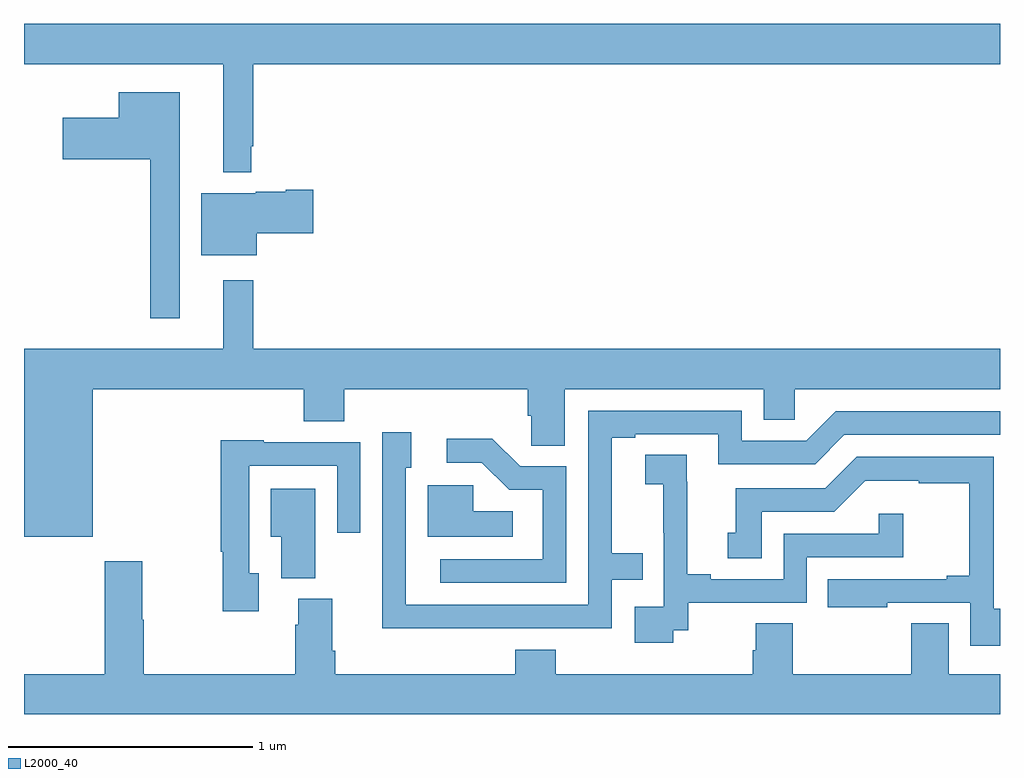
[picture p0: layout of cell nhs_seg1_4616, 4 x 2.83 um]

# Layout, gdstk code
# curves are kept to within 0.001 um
import gdstk
lib = gdstk.Library(unit=1e-6, precision=1e-09)
def P(c, l, *ps):  # polygons
    for p in ps: c.add(gdstk.Polygon(p, *l))
L2000_40 = (2000, 40)

nhs_seg1_4616 = lib.new_cell('nhs_seg1_4616')
P(nhs_seg1_4616, L2000_40, [(361.931,564.715),(361.939,564.715),(361.939,565.052),(365,565.052),(365,565.216),(361,565.216),(361,565.052),(361.817,565.052),(361.817,564.608),(361.931,564.608)],
  [(361.639,564.937),(361.388,564.937),(361.388,564.832),(361.158,564.832),(361.158,564.662),(361.518,564.662),(361.518,564.009),(361.639,564.009)],
  [(361.954,564.358),(362.185,564.358),(362.185,564.536),(362.072,564.536),(362.072,564.529),(361.95,564.529),(361.95,564.523),(361.727,564.523),(361.727,564.269),(361.954,564.269)],
  [(361.282,563.72),(362.147,563.72),(362.147,563.587),(362.312,563.587),(362.312,563.72),(363.065,563.72),(363.065,563.611),(363.078,563.611),(363.078,563.488),(363.217,563.488),(363.217,563.72),(364.031,563.72),(364.031,563.593),(364.158,563.593),(364.158,563.72),(365,563.72),(365,563.884),(361.939,563.884),(361.939,564.166),(361.817,564.166),(361.817,563.884),(361,563.884),(361,563.114),(361.282,563.114)],
  [(362.93,562.74),(363.408,562.74),(363.408,562.938),(363.536,562.938),(363.536,563.047),(363.409,563.047),(363.409,563.52),(363.505,563.52),(363.505,563.535),(363.846,563.535),(363.846,563.412),(364.242,563.412),(364.362,563.532),(365,563.532),(365,563.628),(364.326,563.628),(364.206,563.508),(363.942,563.508),(363.942,563.631),(363.312,563.631),(363.312,562.836),(362.565,562.836),(362.565,563.397),(362.587,563.397),(362.587,563.542),(362.469,563.542),(362.468,562.739)],
  [(363.222,563.403),(363.033,563.403),(362.92,563.516),(362.733,563.516),(362.733,563.418),(362.877,563.418),(362.988,563.307),(363.126,563.307),(363.126,563.022),(362.706,563.022),(362.706,562.926),(363.222,562.926)],
  [(361.963,562.965),(361.923,562.965),(361.923,563.406),(362.283,563.406),(362.283,563.13),(362.379,563.13),(362.379,563.502),(361.983,563.502),(361.983,563.509),(361.807,563.509),(361.807,563.053),(361.815,563.053),(361.815,562.809),(361.963,562.809)],
  [(363.66,562.731),(363.722,562.731),(363.722,562.845),(364.209,562.845),(364.209,563.031),(364.604,563.031),(364.604,563.209),(364.503,563.209),(364.503,563.127),(364.113,563.127),(364.113,562.941),(363.814,562.941),(363.814,562.961),(363.718,562.961),(363.718,563.339),(363.716,563.339),(363.716,563.45),(363.546,563.45),(363.546,563.329),(363.62,563.329),(363.62,563.131),(363.621,563.131),(363.621,562.827),(363.504,562.827),(363.504,562.68),(363.66,562.68)],
  [(365,562.819),(364.974,562.819),(364.974,563.442),(364.413,563.442),(364.284,563.313),(363.917,563.313),(363.917,563.13),(363.884,563.13),(363.884,563.026),(364.024,563.026),(364.024,563.217),(364.32,563.217),(364.448,563.345),(364.667,563.345),(364.667,563.334),(364.873,563.334),(364.873,562.954),(364.781,562.954),(364.781,562.941),(364.294,562.941),(364.294,562.826),(364.537,562.826),(364.537,562.845),(364.878,562.845),(364.878,562.668),(365,562.668)],
  [(363.004,563.218),(362.841,563.218),(362.841,563.325),(362.654,563.325),(362.654,563.114),(363.004,563.114)],
  [(362.194,563.311),(362.012,563.311),(362.012,563.114),(362.054,563.114),(362.054,562.945),(362.194,562.945)],
  [(365,562.552),(364.789,562.552),(364.789,562.76),(364.637,562.76),(364.637,562.552),(364.151,562.552),(364.151,562.76),(363.998,562.76),(363.998,562.65),(363.986,562.65),(363.986,562.552),(363.179,562.552),(363.179,562.651),(363.014,562.651),(363.014,562.552),(362.276,562.552),(362.276,562.648),(362.263,562.648),(362.263,562.86),(362.123,562.86),(362.123,562.754),(362.111,562.754),(362.111,562.552),(361.49,562.552),(361.49,562.775),(361.485,562.775),(361.485,563.014),(361.33,563.014),(361.33,562.552),(361,562.552),(361,562.388),(365,562.388)])

lib.write_gds('nhs_seg1_4616.gds')
